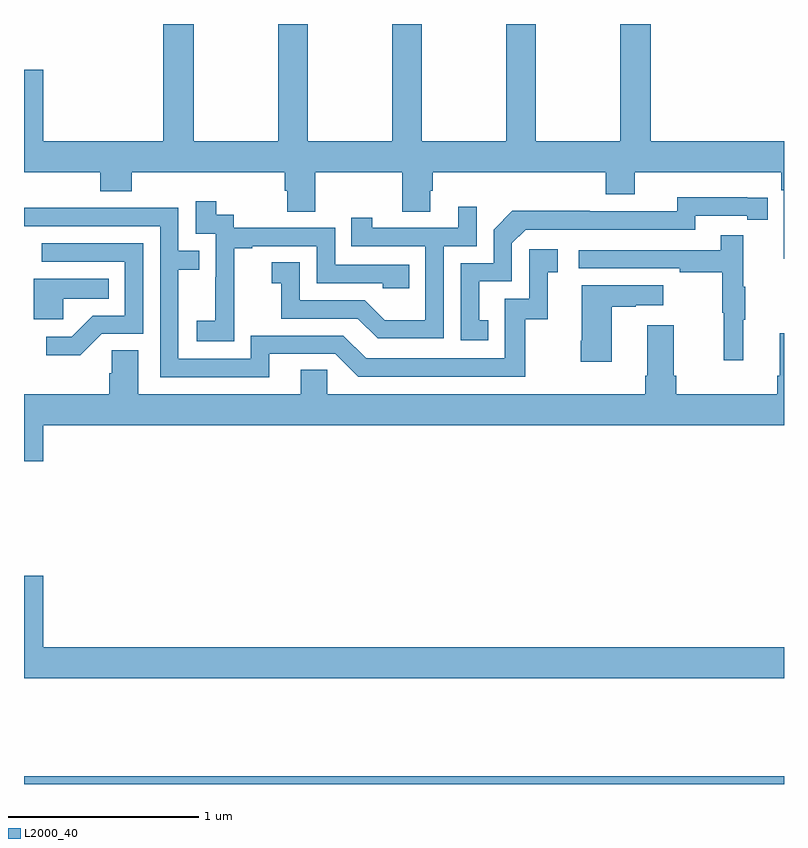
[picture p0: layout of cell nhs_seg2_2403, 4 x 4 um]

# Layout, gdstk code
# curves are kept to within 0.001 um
import gdstk
lib = gdstk.Library(unit=1e-6, precision=1e-09)
def R(c, l, rs):  # rectangles x0, y0, x1, y1
    for r in rs: c.add(gdstk.rectangle(r[:2], r[2:], *l))
def P(c, l, *ps):  # polygons
    for p in ps: c.add(gdstk.Polygon(p, *l))
L2000_40 = (2000, 40)

nhs_seg2_2403 = lib.new_cell('nhs_seg2_2403')
R(nhs_seg2_2403, L2000_40, [(237,593.8,241,593.84)])
P(nhs_seg2_2403, L2000_40, [(238.339,597.8),(238.339,597.184),(237.894,597.184),(237.894,597.8),(237.734,597.8),(237.734,597.184),(237.1,597.184),(237.1,597.559),(237,597.559),(237,597.02),(237.401,597.02),(237.401,596.921),(237.566,596.921),(237.566,597.02),(238.373,597.02),(238.373,596.922),(238.385,596.922),(238.385,596.812),(238.533,596.812),(238.533,597.02),(238.99,597.02),(238.99,596.812),(239.137,596.812),(239.137,596.922),(239.15,596.922),(239.15,597.02),(240.062,597.02),(240.062,596.903),(240.214,596.903),(240.214,597.02),(240.986,597.02),(240.986,596.924),(240.999,596.924),(240.999,596.565),(241,596.565),(241,597.184),(240.299,597.184),(240.299,597.8),(240.139,597.8),(240.139,597.184),(239.694,597.184),(239.694,597.8),(239.539,597.8),(239.539,597.184),(239.094,597.184),(239.094,597.8),(238.939,597.8),(238.939,597.184),(238.494,597.184),(238.494,597.8)],
  [(239.444,596.241),(239.395,596.241),(239.395,596.445),(239.568,596.445),(239.568,596.646),(239.64,596.718),(240.534,596.718),(240.534,596.79),(240.806,596.79),(240.806,596.77),(240.914,596.77),(240.914,596.886),(240.438,596.887),(240.438,596.814),(239.978,596.814),(239.978,596.816),(239.57,596.816),(239.472,596.718),(239.472,596.541),(239.298,596.541),(239.298,596.136),(239.444,596.136)],
  [(238.107,596.335),(238.106,596.335),(238.106,596.619),(238.201,596.619),(238.201,596.631),(238.542,596.631),(238.542,596.436),(238.887,596.436),(238.887,596.409),(239.027,596.409),(239.027,596.532),(238.638,596.532),(238.638,596.727),(238.104,596.727),(238.104,596.796),(238.012,596.796),(238.012,596.866),(237.903,596.866),(237.903,596.697),(238.008,596.697),(238.008,596.468),(238.007,596.468),(238.007,596.239),(237.909,596.239),(237.909,596.129),(238.107,596.129)],
  [(239.208,596.631),(239.382,596.631),(239.382,596.839),(239.285,596.839),(239.285,596.727),(238.834,596.727),(238.834,596.779),(238.723,596.779),(238.723,596.631),(239.112,596.631),(239.112,596.242),(238.898,596.242),(238.794,596.346),(238.452,596.346),(238.452,596.545),(238.305,596.545),(238.305,596.435),(238.354,596.435),(238.354,596.25),(238.757,596.25),(238.862,596.145),(239.208,596.145)],
  [(238.291,596.064),(238.638,596.064),(238.758,595.944),(239.638,595.944),(239.638,596.247),(239.756,596.247),(239.756,596.493),(239.809,596.493),(239.809,596.614),(239.658,596.614),(239.658,596.355),(239.529,596.355),(239.529,596.04),(238.8,596.04),(238.68,596.16),(238.194,596.16),(238.194,596.037),(237.813,596.037),(237.813,596.506),(237.923,596.506),(237.923,596.607),(237.813,596.607),(237.813,596.832),(237.317,596.832),(237.317,596.834),(237,596.834),(237,596.736),(237.717,596.736),(237.717,595.941),(238.291,595.941)],
  [(240.785,596.243),(240.796,596.243),(240.796,596.417),(240.785,596.417),(240.785,596.689),(240.667,596.689),(240.667,596.61),(239.919,596.61),(239.919,596.514),(240.451,596.514),(240.451,596.494),(240.675,596.494),(240.675,596.28),(240.682,596.28),(240.682,596.031),(240.785,596.031)],
  [(237.408,596.169),(237.627,596.169),(237.627,596.646),(237.093,596.646),(237.093,596.55),(237.531,596.55),(237.531,596.265),(237.362,596.265),(237.251,596.154),(237.117,596.154),(237.117,596.057),(237.295,596.057)],
  [(237.207,596.354),(237.446,596.354),(237.446,596.458),(237.05,596.458),(237.05,596.246),(237.207,596.246)],
  [(240.094,596.311),(240.221,596.311),(240.221,596.321),(240.364,596.321),(240.364,596.425),(239.936,596.425),(239.936,596.134),(239.929,596.134),(239.929,596.022),(240.094,596.022)],
  [(237.1,595.688),(241,595.688),(241,596.173),(240.977,596.173),(240.977,595.948),(240.965,595.948),(240.965,595.852),(240.434,595.852),(240.434,595.948),(240.421,595.948),(240.421,596.215),(240.281,596.215),(240.281,595.948),(240.269,595.948),(240.269,595.852),(238.596,595.852),(238.596,595.979),(238.457,595.979),(238.457,595.852),(237.601,595.852),(237.601,596.084),(237.462,596.084),(237.462,595.961),(237.449,595.961),(237.449,595.852),(237,595.852),(237,595.5),(237.1,595.5)],
  [(241,594.52),(237.1,594.52),(237.1,594.895),(237,594.895),(237,594.356),(241,594.356)])

lib.write_gds('nhs_seg2_2403.gds')
